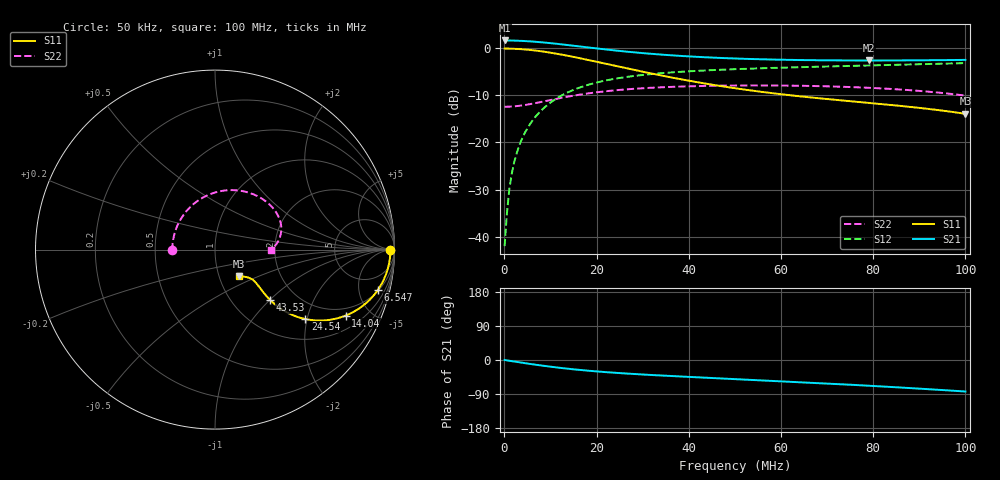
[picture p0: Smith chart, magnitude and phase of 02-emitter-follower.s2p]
! 01-2-2 エミッタフォロア (RL を外し CH1 の 50 Ω を負荷にする) の計算値 — 実測ではない
! ハイブリッド π: Ie 0.83 mA, hFE 150, fT 40 MHz (Ic 0.83 mA のとき), Cob 3 pF (VCB 約 4 V), rbb' 50 Ω, R1 22k / R2 10k, RE 1k, CIN/COUT 10 uF
! 板とクリップの寄生分: クリップのリード 80 nH ずつ (入力・出力)、各節点の浮遊容量 5 pF
# HZ S MA R 50
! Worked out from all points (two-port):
!   201 points, 50 kHz to 100 MHz, reference 50 ohm
!   highest |S21| = 1.52 dB at 50 kHz (marker M1); lowest = -2.7 dB at 79.01 MHz (marker M2)
!   |S21| within 3 dB of the highest: start of sweep to 34.2 MHz
!   lowest |S11| = -14.0 dB at 100 MHz (marker M3), VSWR 1.50, Z = 62.4 - j19.2 ohm
!   |S11| at or under -10 dB: 61.49 MHz to end of sweep
!   |S22| runs from -12.5 to -8.0 dB; largest |S21 - S12| = 1.2
!   S11 on the Smith chart (normalised r, x): 50 kHz: 87, -7; 6.547 MHz: 2.13, -7.58; 14.04 MHz: 1.60, -3.51; 24.54 MHz: 1.51, -1.95; 43.53 MHz: 1.48, -1.01; 100 MHz: 1.25, -0.38
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50000  0.9773 -0.1  1.191 0.1  0.008017 10.4  0.2376 -179.2
549750  0.977 -1.2  1.191 -1.0  0.01772 61.8  0.2378 176.1
1049500  0.9762 -2.3  1.19 -2.0  0.03128 72.0  0.2382 172.4
1549250  0.9748 -3.4  1.189 -2.9  0.04531 74.9  0.2389 168.7
2049000  0.9729 -4.5  1.187 -3.9  0.05943 75.7  0.2399 165.1
2548750  0.9705 -5.6  1.185 -4.8  0.07353 75.5  0.2411 161.5
3048500  0.9676 -6.7  1.183 -5.8  0.08754 74.9  0.2426 158.0
4048000  0.9603 -8.8  1.177 -7.6  0.1152 72.9  0.2463 151.0
5047500  0.9512 -10.9  1.169 -9.4  0.1423 70.5  0.2507 144.4
6546750  0.9345 -14.0  1.156 -12.1  0.1814 66.5  0.2585 134.9
8046000  0.9146 -16.9  1.14 -14.6  0.2184 62.4  0.2674 126.1
1.0045e7  0.8842 -20.5  1.115 -17.8  0.264 57.0  0.2801 115.5
1.4043e7  0.8153 -26.8  1.061 -23.4  0.3421 46.7  0.3056 97.8
1.70415e7  0.7614 -30.7  1.02 -27.0  0.3895 39.6  0.3229 87.1
2.453775e7  0.6348 -37.6  0.9278 -34.2  0.4744 24.4  0.3563 67.2
3.353325e7  0.5138 -41.5  0.8477 -40.6  0.5348 9.8  0.3805 51.4
4.352825e7  0.418 -42.4  0.7915 -46.6  0.5746 -3.5  0.3943 39.5
5.0025e7  0.3728 -41.8  0.768 -50.3  0.5926 -11.1  0.3982 33.6
6.70165e7  0.2962 -39.1  0.7367 -60.2  0.6274 -28.8  0.3936 21.1
7.90105e7  0.2611 -38.8  0.7316 -67.8  0.6485 -40.5  0.3769 13.4
8.350825e7  0.249 -39.4  0.7321 -70.9  0.6565 -44.8  0.3673 10.6
1e8  0.2001 -47.4  0.7425 -83.2  0.6865 -60.9  0.3115 -0.5
